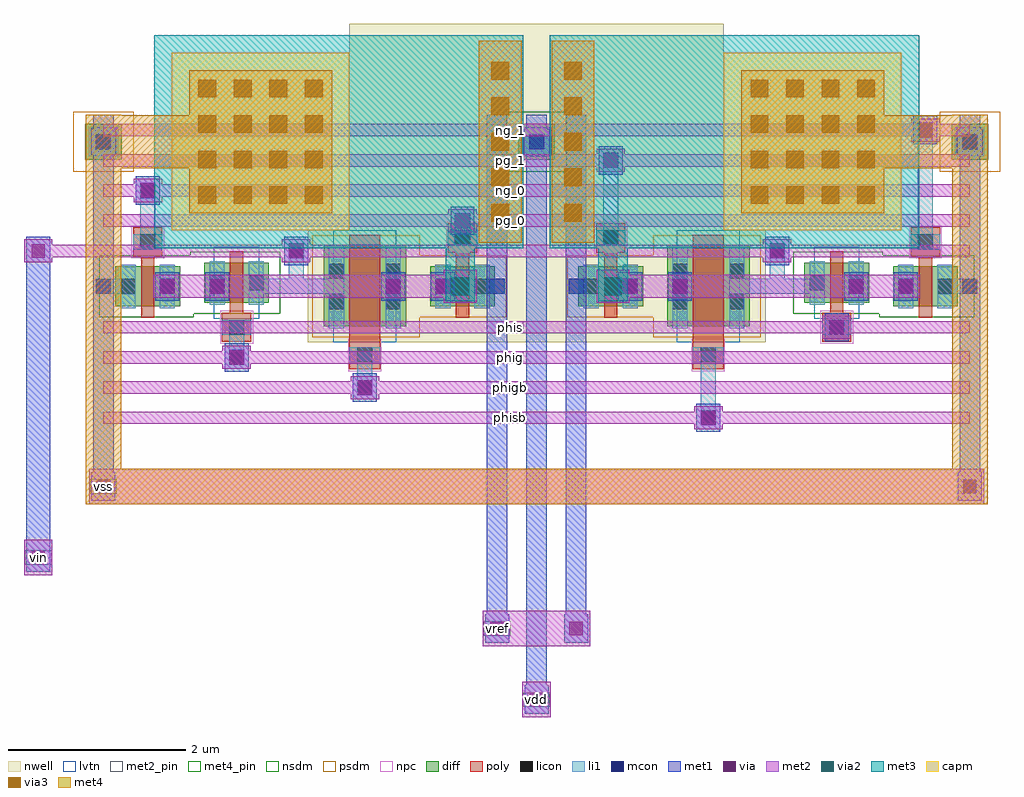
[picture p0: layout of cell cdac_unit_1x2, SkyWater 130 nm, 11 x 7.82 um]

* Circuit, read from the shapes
.subckt cdac_unit_1x2 ng_0 ng_1 pg_0 pg_1 phig phigb phis phisb top vdd vin vref vss
XM1 n1 ng_0 vss VSUBS sky130_fd_pr__nfet_01v8 w=0.45 l=0.15
XM2 vin phig n1 VSUBS sky130_fd_pr__nfet_01v8_lvt w=0.45 l=0.15
XM3 n2 phis vin VSUBS sky130_fd_pr__nfet_01v8_lvt w=0.45 l=0.15
XM4 vss ng_1 n2 VSUBS sky130_fd_pr__nfet_01v8 w=0.45 l=0.15
XM5 n1 phigb vin n3 sky130_fd_pr__pfet_01v8_lvt w=0.9 l=0.35
XM6 vref pg_0 n1 n3 sky130_fd_pr__pfet_01v8 w=0.45 l=0.15
XM7 n2 pg_1 vref n3 sky130_fd_pr__pfet_01v8 w=0.45 l=0.15
XM8 vin phisb n2 n3 sky130_fd_pr__pfet_01v8_lvt w=0.9 l=0.35
XC9 top n1 sky130_fd_pr__cap_mim_m3_1 w=2 l=2
XC10 top n2 sky130_fd_pr__cap_mim_m3_1 w=2 l=2
.ends

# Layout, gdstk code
import gdstk
lib = gdstk.Library(unit=1e-6, precision=5e-09)
def R(c, l, rs):  # rectangles x0, y0, x1, y1
    for r in rs: c.add(gdstk.rectangle(r[:2], r[2:], *l))
def A(c, l, x, y, w, h, nx, ny, dx, dy):  # array of equal rectangles
    R(c, l, [(x+i*dx, y+j*dy, x+i*dx+w, y+j*dy+h) for i in range(nx) for j in range(ny)])
nwell = (64, 20)
diff = (65, 20)
poly = (66, 20)
licon = (66, 44)
li1 = (67, 20)
mcon = (67, 44)
met1 = (68, 20)
via = (68, 44)
met2_pin = (69, 16)
met2 = (69, 20)
via2 = (69, 44)
met3 = (70, 20)
via3 = (70, 44)
met4_pin = (71, 16)
met4 = (71, 20)
capm = (89, 44)
nsdm = (93, 44)
psdm = (94, 20)
npc = (95, 20)
lvtn = (125, 44)

cdac_unit_1x2 = lib.new_cell('cdac_unit_1x2')
R(cdac_unit_1x2, nwell, [(2.3,1.025,5.265,2.285), (2.77,1.025,5.265,4.615), (4.495,1.025,7.46,2.285), (4.495,1.025,6.99,4.615)])
R(cdac_unit_1x2, diff, [(2.48,1.205,3.41,2.105), (6.35,1.205,7.28,2.105), (0.135,1.43,0.865,1.88), (3.68,1.43,4.41,1.88), (5.35,1.43,6.08,1.88), (8.895,1.43,9.625,1.88), (1.135,1.47,1.865,1.92), (7.895,1.47,8.625,1.92), (-0.205,3.08,0.205,3.49), (4.675,3.08,5.085,3.49), (4.675,3.08,5.085,3.49), (9.555,3.08,9.965,3.49)])
R(cdac_unit_1x2, poly, [(2.77,0.72,3.12,2.235), (6.64,0.72,6.99,2.235), (1.335,1.03,1.665,1.36), (8.095,1.03,8.425,1.36), (0.425,1.3,0.575,1.99), (3.97,1.3,4.12,2.035), (5.64,1.3,5.79,2.035), (9.185,1.3,9.335,1.99), (1.425,1.36,1.575,2.05), (8.185,1.36,8.335,2.05), (0.335,1.99,0.665,2.32), (9.095,1.99,9.425,2.32), (3.88,2.035,4.21,2.365), (5.55,2.035,5.88,2.365)])
R(cdac_unit_1x2, licon, [(2.86,0.8,3.03,0.97), (6.73,0.8,6.9,0.97), (1.415,1.11,1.585,1.28), (8.175,1.11,8.345,1.28), (2.54,1.4,2.71,1.57), (3.18,1.4,3.35,1.57), (6.41,1.4,6.58,1.57), (7.05,1.4,7.22,1.57), (0.195,1.57,0.365,1.74), (0.635,1.57,0.805,1.74), (3.74,1.57,3.91,1.74), (4.18,1.57,4.35,1.74), (5.41,1.57,5.58,1.74), (5.85,1.57,6.02,1.74), (8.955,1.57,9.125,1.74), (9.395,1.57,9.565,1.74), (1.195,1.61,1.365,1.78), (1.635,1.61,1.805,1.78), (7.955,1.61,8.125,1.78), (8.395,1.61,8.565,1.78), (2.54,1.74,2.71,1.91), (3.18,1.74,3.35,1.91), (6.41,1.74,6.58,1.91), (7.05,1.74,7.22,1.91), (0.415,2.07,0.585,2.24), (9.175,2.07,9.345,2.24), (3.96,2.115,4.13,2.285), (5.63,2.115,5.8,2.285), (-0.085,3.2,0.085,3.37), (4.795,3.2,4.965,3.37), (4.795,3.2,4.965,3.37), (9.675,3.2,9.845,3.37)])
R(cdac_unit_1x2, li1, [(6.73,0.09,6.9,0.97), (2.86,0.43,3.03,0.97), (1.415,0.77,1.585,1.28), (2.77,0.8,3.12,0.97), (6.64,0.8,6.99,0.97), (1.335,1.11,1.665,1.28), (8.095,1.11,8.425,1.28), (8.175,1.11,8.345,1.28), (2.54,1.185,2.71,2.125), (3.18,1.185,3.35,2.125), (6.41,1.185,6.58,2.125), (7.05,1.185,7.22,2.125), (0.195,1.41,0.365,1.9), (0.635,1.41,0.805,1.9), (3.74,1.41,3.91,1.9), (4.18,1.41,4.35,1.9), (5.41,1.41,5.58,1.9), (5.85,1.41,6.02,1.9), (8.955,1.41,9.125,1.9), (9.395,1.41,9.565,1.9), (1.195,1.45,1.365,1.94), (1.635,1.45,1.805,1.94), (7.955,1.45,8.125,1.94), (8.395,1.45,8.565,1.94), (-0.085,1.57,0.28,1.74), (1.72,1.57,2.625,1.74), (4.265,1.57,4.52,1.74), (5.24,1.57,5.495,1.74), (7.135,1.57,8.04,1.74), (9.48,1.57,9.845,1.74), (2.085,1.655,2.255,2.14), (7.505,1.655,7.675,2.14), (0.335,2.07,0.665,2.24), (0.415,2.07,0.585,2.82), (9.095,2.07,9.425,2.24), (9.175,2.07,9.345,3.5), (3.88,2.115,4.21,2.285), (3.96,2.115,4.13,2.48), (5.55,2.115,5.88,2.285), (5.63,2.115,5.8,3.16), (-0.165,3.12,0.165,3.45), (4.715,3.12,5.045,3.45), (4.715,3.12,5.045,3.45), (9.595,3.12,9.925,3.45)])
R(cdac_unit_1x2, mcon, [(6.73,0.09,6.9,0.26), (2.86,0.43,3.03,0.6), (1.415,0.77,1.585,0.94), (8.175,1.11,8.345,1.28), (-0.085,1.57,0.085,1.74), (0.635,1.57,0.805,1.74), (1.195,1.57,1.365,1.74), (3.18,1.57,3.35,1.74), (3.74,1.57,3.91,1.74), (4.35,1.57,4.52,1.74), (5.24,1.57,5.41,1.74), (5.85,1.57,6.02,1.74), (6.41,1.57,6.58,1.74), (8.395,1.57,8.565,1.74), (8.955,1.57,9.125,1.74), (9.675,1.57,9.845,1.74), (2.085,1.97,2.255,2.14), (7.505,1.97,7.675,2.14), (3.96,2.31,4.13,2.48), (0.415,2.65,0.585,2.82), (5.63,2.99,5.8,3.16), (-0.085,3.2,0.085,3.37), (4.795,3.2,4.965,3.37), (4.795,3.2,4.965,3.37), (9.675,3.2,9.845,3.37), (9.175,3.33,9.345,3.5)])
R(cdac_unit_1x2, met1, [(4.745,-3.16,5.015,-2.84), (4.765,-3,4.995,0), (4.3,-2.36,4.57,-2.04), (5.19,-2.36,5.46,-2.04), (4.32,-2.2,4.55,0), (5.21,-2.2,5.44,0), (-0.87,-1.56,-0.6,-1.24), (-0.87,-1.4,-0.6,2.055), (-0.135,-0.76,0.135,-0.44), (9.625,-0.76,9.895,-0.44), (-0.115,-0.6,0.115,0), (9.645,-0.6,9.875,0), (-0.115,0,0.115,3.59), (4.32,0,4.55,3.59), (4.765,0,4.995,3.59), (4.765,0,4.995,3.59), (5.21,0,5.44,3.59), (9.645,0,9.875,3.59), (6.68,0.015,6.95,0.335), (2.81,0.355,3.08,0.675), (1.365,0.695,1.635,1.015), (8.125,1.035,8.395,1.355), (0.585,1.495,0.855,1.815), (1.145,1.495,1.415,1.815), (3.13,1.495,3.4,1.815), (3.69,1.495,3.96,1.815), (5.8,1.495,6.07,1.815), (6.36,1.495,6.63,1.815), (8.345,1.495,8.615,1.815), (8.905,1.495,9.175,1.815), (-0.115,1.515,0.115,1.795), (4.32,1.515,4.55,1.795), (5.21,1.515,5.44,1.795), (9.645,1.515,9.875,1.795), (-0.87,1.895,-0.6,2.215), (2.035,1.895,2.305,2.215), (7.455,1.895,7.725,2.215), (3.91,2.235,4.18,2.555), (0.365,2.575,0.635,2.895), (5.58,2.915,5.85,3.235), (-0.145,3.14,0.145,3.43), (4.735,3.14,5.025,3.43), (4.735,3.14,5.025,3.43), (9.615,3.14,9.905,3.43), (9.125,3.255,9.395,3.575)])
R(cdac_unit_1x2, via, [(4.805,-3.075,4.955,-2.925), (4.36,-2.275,4.51,-2.125), (5.25,-2.275,5.4,-2.125), (-0.81,-1.475,-0.66,-1.325), (-0.075,-0.675,0.075,-0.525), (9.685,-0.675,9.835,-0.525), (6.74,0.1,6.89,0.25), (2.87,0.44,3.02,0.59), (1.425,0.78,1.575,0.93), (8.185,1.12,8.335,1.27), (0.645,1.58,0.795,1.73), (1.205,1.58,1.355,1.73), (3.19,1.58,3.34,1.73), (3.75,1.58,3.9,1.73), (5.86,1.58,6.01,1.73), (6.42,1.58,6.57,1.73), (8.405,1.58,8.555,1.73), (8.965,1.58,9.115,1.73), (-0.81,1.98,-0.66,2.13), (2.095,1.98,2.245,2.13), (7.515,1.98,7.665,2.13), (3.97,2.32,4.12,2.47), (0.425,2.66,0.575,2.81), (5.64,3,5.79,3.15), (9.185,3.34,9.335,3.49)])
A(cdac_unit_1x2, met2_pin, 4.43, 0.105, 0.3, 0.14, 1, 4, 0, 0.34)
A(cdac_unit_1x2, met2_pin, 4.43, 2.325, 0.3, 0.14, 1, 4, 0, 0.34)
R(cdac_unit_1x2, met2_pin, [(4.73,-3.08,5.03,-2.92), (4.285,-2.28,4.585,-2.12), (-0.885,-1.48,-0.585,-1.32), (-0.15,-0.68,0.15,-0.52)])
A(cdac_unit_1x2, met2, 0, 0.105, 4.88, 0.14, 1, 4, 0, 0.34)
A(cdac_unit_1x2, met2, 4.88, 0.105, 4.88, 0.14, 1, 4, 0, 0.34)
A(cdac_unit_1x2, met2, 0, 1.985, 4.88, 0.14, 1, 5, 0, 0.34)
A(cdac_unit_1x2, met2, 4.88, 1.985, 4.88, 0.14, 1, 5, 0, 0.34)
R(cdac_unit_1x2, met2, [(4.72,-3.2,5.04,-2.8), (4.72,-3.13,5.04,-2.87), (4.275,-2.4,5.485,-2), (4.275,-2.33,4.595,-2.07), (5.165,-2.33,5.485,-2.07), (-0.895,-1.6,-0.575,-1.2), (-0.895,-1.53,-0.575,-1.27), (-0.16,-0.8,9.92,-0.4), (-0.16,-0.73,0.16,-0.47), (9.6,-0.73,9.92,-0.47), (6.655,0.045,6.975,0.305), (2.785,0.385,3.105,0.645), (1.34,0.725,1.66,0.985), (8.1,1.065,8.42,1.325), (3.835,1.47,4.205,1.84), (5.555,1.47,5.925,1.84), (0.56,1.525,0.88,1.785), (0.56,1.525,4.205,1.785), (1.12,1.525,1.44,1.785), (3.105,1.525,3.425,1.785), (3.665,1.525,3.985,1.785), (5.555,1.525,9.2,1.785), (5.775,1.525,6.095,1.785), (6.335,1.525,6.655,1.785), (8.32,1.525,8.64,1.785), (8.88,1.525,9.2,1.785), (-0.895,1.925,-0.575,2.185), (2.01,1.925,2.33,2.185), (7.43,1.925,7.75,2.185), (-0.735,1.985,0,2.125), (3.885,2.265,4.205,2.525), (0.34,2.605,0.66,2.865), (5.555,2.945,5.875,3.205), (9.1,3.285,9.42,3.545)])
R(cdac_unit_1x2, via2, [(3.92,1.555,4.12,1.755), (5.64,1.555,5.84,1.755)])
R(cdac_unit_1x2, met3, [(3.855,1.49,4.185,2.285), (5.575,1.49,5.905,2.285), (0.57,2.085,4.73,4.485), (5.03,2.085,9.19,4.485)])
A(cdac_unit_1x2, via3, 4.37, 2.385, 0.2, 0.2, 1, 5, 0, 0.4)
A(cdac_unit_1x2, via3, 5.19, 2.385, 0.2, 0.2, 1, 5, 0, 0.4)
A(cdac_unit_1x2, via3, 1.07, 2.585, 0.2, 0.2, 4, 4, 0.4, 0.4)
A(cdac_unit_1x2, via3, 7.29, 2.585, 0.2, 0.2, 4, 4, 0.4, 0.4)
R(cdac_unit_1x2, met4_pin, [(-0.15,-0.68,0.15,-0.52)])
R(cdac_unit_1x2, met4, [(-0.2,-0.8,0.2,0), (-0.2,-0.8,9.96,-0.4), (9.56,-0.8,9.96,0), (-0.2,0,0.2,3.59), (9.56,0,9.96,3.59), (4.23,2.145,4.71,4.425), (5.05,2.145,5.53,4.425), (0.965,2.48,2.575,4.09), (7.185,2.48,8.795,4.09), (0,2.985,1.165,3.585), (8.595,2.985,9.76,3.585)])
R(cdac_unit_1x2, capm, [(0.77,2.285,2.77,4.285), (6.99,2.285,8.99,4.285)])
R(cdac_unit_1x2, nsdm, [(-0.05,1.305,0.02,2.005), (0.01,1.305,0.99,2.005), (0.98,1.305,1.02,2.045), (8.74,1.305,8.78,2.045), (8.77,1.305,9.75,2.005), (9.74,1.305,9.81,2.005), (1.01,1.345,1.99,2.045), (7.77,1.345,8.75,2.045), (4.54,2.945,5.22,3.625), (4.54,2.945,5.22,3.625)])
R(cdac_unit_1x2, psdm, [(2.355,1.08,3.535,2.23), (3.525,1.08,3.565,2.23), (6.195,1.08,6.235,2.23), (6.225,1.08,7.405,2.23), (3.555,1.305,4.535,2.005), (5.225,1.305,6.205,2.005), (-0.34,2.945,0.34,3.625), (9.42,2.945,10.1,3.625)])
R(cdac_unit_1x2, npc, [(2.76,0.7,3.13,1.07), (6.63,0.7,7,1.07), (1.315,1.01,1.685,1.38), (8.075,1.01,8.445,1.38), (0.315,1.97,0.685,2.34), (9.075,1.97,9.445,2.34), (3.86,2.015,4.23,2.385), (5.53,2.015,5.9,2.385)])
R(cdac_unit_1x2, lvtn, [(2.59,1.025,3.3,2.285), (6.46,1.025,7.17,2.285), (1.245,1.29,1.755,2.1), (8.005,1.29,8.515,2.1)])
cdac_unit_1x2.add(gdstk.Label('phisb', (4.58,0.175), layer=69, texttype=5))
cdac_unit_1x2.add(gdstk.Label('phigb', (4.58,0.515), layer=69, texttype=5))
cdac_unit_1x2.add(gdstk.Label('phig', (4.58,0.855), layer=69, texttype=5))
cdac_unit_1x2.add(gdstk.Label('phis', (4.58,1.195), layer=69, texttype=5))
cdac_unit_1x2.add(gdstk.Label('pg_0', (4.58,2.395), layer=69, texttype=5))
cdac_unit_1x2.add(gdstk.Label('ng_0', (4.58,2.735), layer=69, texttype=5))
cdac_unit_1x2.add(gdstk.Label('pg_1', (4.58,3.075), layer=69, texttype=5))
cdac_unit_1x2.add(gdstk.Label('ng_1', (4.58,3.415), layer=69, texttype=5))
cdac_unit_1x2.add(gdstk.Label('vss', (0,-0.6), layer=69, texttype=5))
cdac_unit_1x2.add(gdstk.Label('vin', (-0.735,-1.4), layer=69, texttype=5))
cdac_unit_1x2.add(gdstk.Label('vref', (4.435,-2.2), layer=69, texttype=5))
cdac_unit_1x2.add(gdstk.Label('vdd', (4.88,-3), layer=69, texttype=5))
cdac_unit_1x2.add(gdstk.Label('top', (0,-0.6), layer=71, texttype=5))

lib.write_gds('cdac_unit_1x2.gds')
